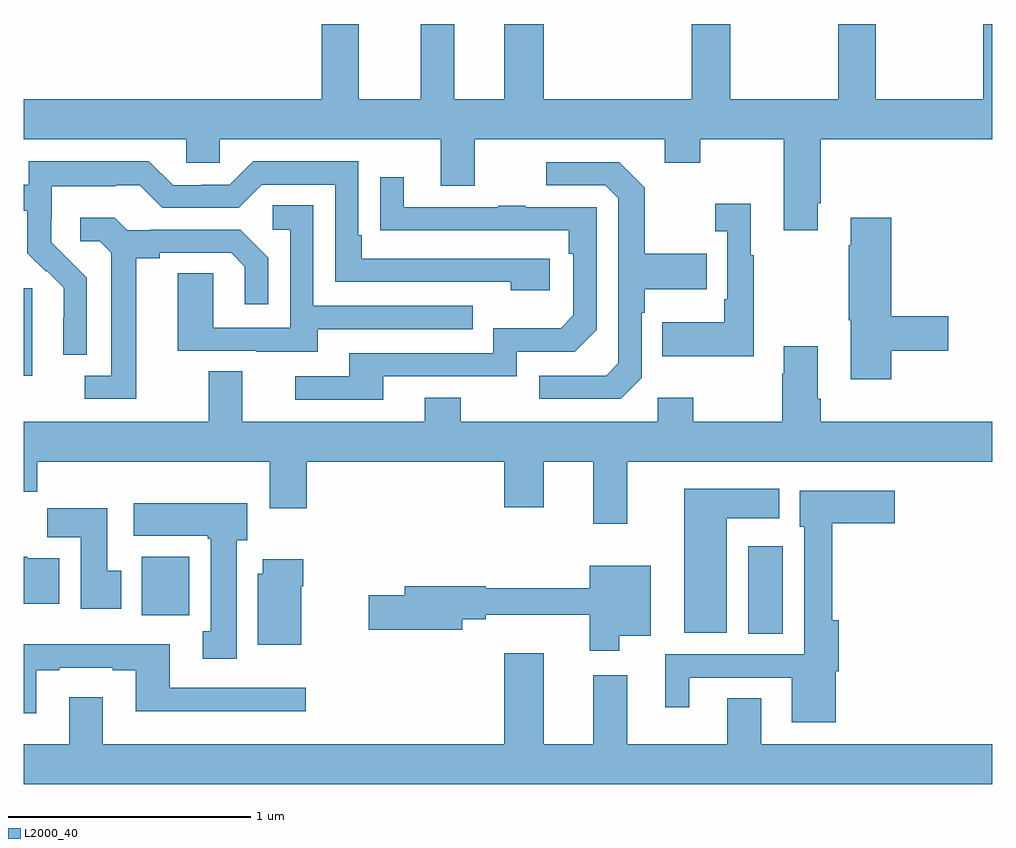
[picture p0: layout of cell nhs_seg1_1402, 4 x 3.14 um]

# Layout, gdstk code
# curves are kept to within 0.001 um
import gdstk
lib = gdstk.Library(unit=1e-6, precision=1e-09)
def R(c, l, rs):  # rectangles x0, y0, x1, y1
    for r in rs: c.add(gdstk.rectangle(r[:2], r[2:], *l))
def P(c, l, *ps):  # polygons
    for p in ps: c.add(gdstk.Polygon(p, *l))
L2000_40 = (2000, 40)

nhs_seg1_1402 = lib.new_cell('nhs_seg1_1402')
R(nhs_seg1_1402, L2000_40, [(189.992,557.68,190.135,558.043), (187.487,557.756,187.684,557.998), (187,558.746,187.036,559.107)])
P(nhs_seg1_1402, L2000_40, [(190.279,559.459),(190.292,559.459),(190.292,559.724),(191,559.724),(191,560.199),(190.963,560.199),(190.963,559.888),(190.518,559.888),(190.518,560.199),(190.363,560.199),(190.363,559.888),(189.918,559.888),(189.918,560.199),(189.758,560.199),(189.758,559.888),(189.148,559.888),(189.148,560.199),(188.984,560.199),(188.984,559.888),(188.779,559.888),(188.779,560.199),(188.639,560.199),(188.639,559.888),(188.383,559.888),(188.383,560.199),(188.231,560.199),(188.231,559.888),(187,559.888),(187,559.724),(187.671,559.724),(187.671,559.626),(187.809,559.626),(187.809,559.724),(188.723,559.724),(188.723,559.53),(188.863,559.53),(188.863,559.724),(189.647,559.724),(189.647,559.625),(189.795,559.625),(189.795,559.724),(190.139,559.724),(190.139,559.347),(190.279,559.347)],
  [(187.26,559.15),(187.114,559.298),(187.114,559.395),(187.116,559.395),(187.116,559.529),(187.379,559.529),(187.379,559.533),(187.479,559.533),(187.572,559.44),(187.887,559.44),(187.983,559.536),(188.286,559.536),(188.286,559.134),(189.011,559.134),(189.011,559.1),(189.172,559.1),(189.172,559.23),(188.395,559.23),(188.395,559.327),(188.382,559.327),(188.382,559.632),(187.947,559.632),(187.851,559.536),(187.733,559.536),(187.733,559.533),(187.617,559.533),(187.517,559.633),(187.02,559.633),(187.02,559.536),(187,559.536),(187,559.428),(187.015,559.428),(187.015,559.253),(187.092,559.176),(187.095,559.179),(187.166,559.109),(187.166,558.986),(187.164,558.986),(187.164,558.832),(187.26,558.832)],
  [(189.552,558.738),(189.552,559.007),(189.565,559.007),(189.565,559.103),(189.821,559.103),(189.821,559.251),(189.565,559.251),(189.565,559.523),(189.459,559.629),(189.159,559.629),(189.159,559.533),(189.402,559.533),(189.456,559.479),(189.456,558.798),(189.405,558.747),(189.129,558.747),(189.129,558.651),(189.465,558.651)],
  [(188.485,558.744),(189.036,558.744),(189.036,558.846),(189.276,558.846),(189.366,558.936),(189.366,559.443),(189.071,559.443),(189.071,559.448),(188.959,559.448),(188.959,559.443),(188.569,559.443),(188.569,559.567),(188.473,559.567),(188.473,559.348),(189.25,559.347),(189.25,559.25),(189.27,559.25),(189.27,558.996),(189.217,558.943),(188.94,558.943),(188.94,558.84),(188.345,558.84),(188.345,558.744),(188.121,558.744),(188.121,558.648),(188.485,558.648)],
  [(190.015,559.243),(190.003,559.243),(190.003,559.456),(189.855,559.456),(189.855,559.343),(189.906,559.343),(189.906,559.063),(189.894,559.063),(189.894,558.967),(189.637,558.967),(189.637,558.827),(190.015,558.827)],
  [(188.215,558.939),(188.855,558.939),(188.855,559.035),(188.196,559.035),(188.196,559.451),(188.028,559.451),(188.028,559.35),(188.1,559.35),(188.1,558.945),(187.782,558.945),(187.782,559.169),(187.637,559.169),(187.637,558.849),(187.961,558.849),(187.961,558.845),(188.215,558.845)],
  [(187.465,559.232),(187.561,559.232),(187.561,559.254),(187.856,559.254),(187.913,559.197),(187.913,559.041),(188.01,559.041),(188.01,559.234),(187.894,559.35),(187.522,559.35),(187.522,559.347),(187.428,559.347),(187.376,559.399),(187.233,559.399),(187.233,559.302),(187.314,559.302),(187.361,559.255),(187.361,558.747),(187.251,558.747),(187.251,558.651),(187.465,558.651)],
  [(190.583,558.85),(190.819,558.85),(190.819,558.992),(190.583,558.992),(190.583,559.399),(190.415,559.399),(190.415,559.286),(190.408,559.286),(190.408,558.975),(190.415,558.975),(190.415,558.732),(190.583,558.732)],
  [(189.493,558.392),(191,558.392),(191,558.556),(190.292,558.556),(190.292,558.652),(190.279,558.652),(190.279,558.868),(190.139,558.868),(190.139,558.755),(190.132,558.755),(190.132,558.556),(189.765,558.556),(189.765,558.655),(189.618,558.655),(189.618,558.556),(188.805,558.556),(188.805,558.655),(188.657,558.655),(188.657,558.556),(187.903,558.556),(187.903,558.764),(187.763,558.764),(187.763,558.556),(187,558.556),(187,558.268),(187.055,558.268),(187.055,558.392),(188.015,558.392),(188.015,558.198),(188.168,558.198),(188.168,558.392),(188.984,558.392),(188.984,558.204),(189.148,558.204),(189.148,558.392),(189.353,558.392),(189.353,558.135),(189.493,558.135)],
  [(189.904,558.158),(190.12,558.158),(190.12,558.28),(189.728,558.28),(189.728,557.684),(189.904,557.684)],
  [(190.354,557.526),(190.367,557.526),(190.367,557.737),(190.34,557.737),(190.34,558.137),(190.597,558.137),(190.597,558.271),(190.205,558.271),(190.205,558.123),(190.224,558.123),(190.224,557.595),(189.65,557.595),(189.65,557.376),(189.748,557.376),(189.748,557.499),(190.172,557.499),(190.172,557.315),(190.354,557.315)],
  [(187.879,558.066),(187.924,558.066),(187.924,558.22),(187.455,558.22),(187.455,558.086),(187.759,558.086),(187.759,558.073),(187.772,558.073),(187.772,557.69),(187.739,557.69),(187.739,557.577),(187.879,557.577)],
  [(187.402,557.94),(187.345,557.94),(187.345,558.199),(187.096,558.199),(187.096,558.08),(187.235,558.08),(187.235,557.784),(187.402,557.784)],
  [(187.147,557.992),(187.014,557.992),(187.014,557.998),(187,557.998),(187,557.804),(187.147,557.804)],
  [(188.146,557.876),(188.154,557.876),(188.154,557.989),(187.988,557.989),(187.988,557.928),(187.967,557.928),(187.967,557.636),(188.146,557.636)],
  [(189.46,557.672),(189.589,557.672),(189.589,557.962),(189.338,557.962),(189.338,557.869),(188.908,557.869),(188.908,557.876),(188.573,557.876),(188.573,557.84),(188.424,557.84),(188.424,557.698),(188.812,557.698),(188.812,557.74),(188.908,557.74),(188.908,557.759),(189.338,557.759),(189.338,557.61),(189.46,557.61)],
  [(187.051,557.529),(187.147,557.529),(187.147,557.541),(187.367,557.541),(187.367,557.529),(187.463,557.529),(187.463,557.36),(188.164,557.36),(188.164,557.457),(187.603,557.457),(187.603,557.638),(187,557.638),(187,557.352),(187.051,557.352)],
  [(191,557.224),(190.045,557.224),(190.045,557.414),(189.905,557.414),(189.905,557.224),(189.493,557.224),(189.493,557.509),(189.353,557.509),(189.353,557.224),(189.148,557.224),(189.148,557.599),(188.984,557.599),(188.984,557.224),(187.327,557.224),(187.327,557.419),(187.187,557.419),(187.187,557.224),(187,557.224),(187,557.06),(191,557.06)])

lib.write_gds('nhs_seg1_1402.gds')
